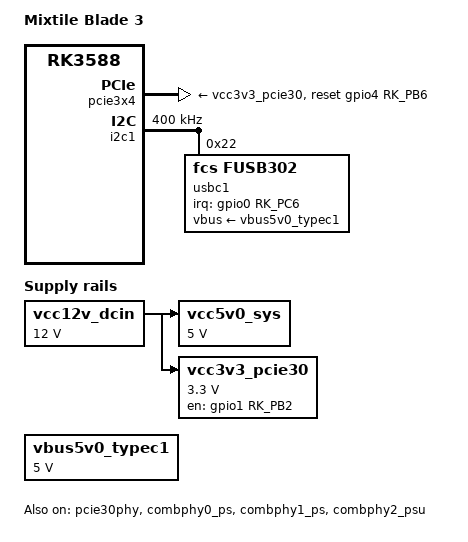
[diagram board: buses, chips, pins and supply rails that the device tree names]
// SPDX-License-Identifier: (GPL-2.0+ OR MIT)
/*
 * Copyright (c) 2022 Mixtile Limited
 *
 */

/dts-v1/;
#include "rk3588.dtsi"
#include "rk3588-u-boot.dtsi"
#include <dt-bindings/input/input.h>

/ {
	model = "Mixtile Blade 3";
	compatible = "mixtile,blade3", "rockchip,rk3588";

	vcc12v_dcin: vcc12v-dcin {
		u-boot,dm-pre-reloc;
		compatible = "regulator-fixed";
		regulator-name = "vcc12v_dcin";
		regulator-always-on;
		regulator-boot-on;
		regulator-min-microvolt = <12000000>;
		regulator-max-microvolt = <12000000>;
	};

	vcc5v0_sys: vcc5v0-sys {
		u-boot,dm-pre-reloc;
		compatible = "regulator-fixed";
		regulator-name = "vcc5v0_sys";
		regulator-always-on;
		regulator-boot-on;
		regulator-min-microvolt = <5000000>;
		regulator-max-microvolt = <5000000>;
		vin-supply = <&vcc12v_dcin>;
	};

	vcc3v3_pcie30: vcc3v3-pcie30 {
		u-boot,dm-pre-reloc;
		compatible = "regulator-fixed";
		regulator-name = "vcc3v3_pcie30";
		regulator-min-microvolt = <3300000>;
		regulator-max-microvolt = <3300000>;
		enable-active-high;
		gpio = <&gpio1 RK_PB2 GPIO_ACTIVE_HIGH>;
		regulator-boot-on;
		regulator-always-on;
		startup-delay-us = <5000>;
		pinctrl-names = "default";
		pinctrl-0 = <&vcc3v3_pcie30_en>;
		vin-supply = <&vcc12v_dcin>;
	};

	vbus5v0_typec1: vbus5v0-typec1 {
		compatible = "regulator-fixed";
		regulator-name = "vbus5v0_typec1";
		regulator-min-microvolt = <5000000>;
		regulator-max-microvolt = <5000000>;
	};
};

&pcie3x4 {
	u-boot,dm-pre-reloc;
	vpcie3v3-supply = <&vcc3v3_pcie30>;
	reset-gpios = <&gpio4 RK_PB6 GPIO_ACTIVE_HIGH>;
	status = "okay";
};

&pcie30phy {
	u-boot,dm-pre-reloc;
	status = "okay";
};

&combphy0_ps {
	u-boot,dm-pre-reloc;
	status = "okay";
};

&combphy1_ps {
	u-boot,dm-pre-reloc;
	status = "okay";
};

&combphy2_psu {
	u-boot,dm-pre-reloc;
	status = "okay";
};

&i2c1 {
	status = "okay";

	clock-frequency = <400000>;
	i2c-scl-rising-time-ns = <160>;
	i2c-scl-falling-time-ns = <30>;

	usbc1: fusb302@22 {
		compatible = "fcs,fusb302";
		reg = <0x22>;
		interrupt-parent = <&gpio0>;
		interrupts = <RK_PC6 IRQ_TYPE_LEVEL_LOW>;
		pinctrl-names = "default";
		pinctrl-0 = <&usbc1_int>;
		vbus-supply = <&vbus5v0_typec1>;
		status = "okay";
	};
};

&pinctrl {
	usb-typec {
		usbc1_int: usbc1-int {
			rockchip,pins = <0 RK_PC6 RK_FUNC_GPIO &pcfg_pull_up>;
		};
	};

	pcie {
		u-boot,dm-spl;
		vcc3v3_pcie30_en: vcc3v3-pcie30-en {
			u-boot,dm-spl;
			rockchip,pins = <1 RK_PB2 RK_FUNC_GPIO &pcfg_pull_up>;
		};
	
	};
};

